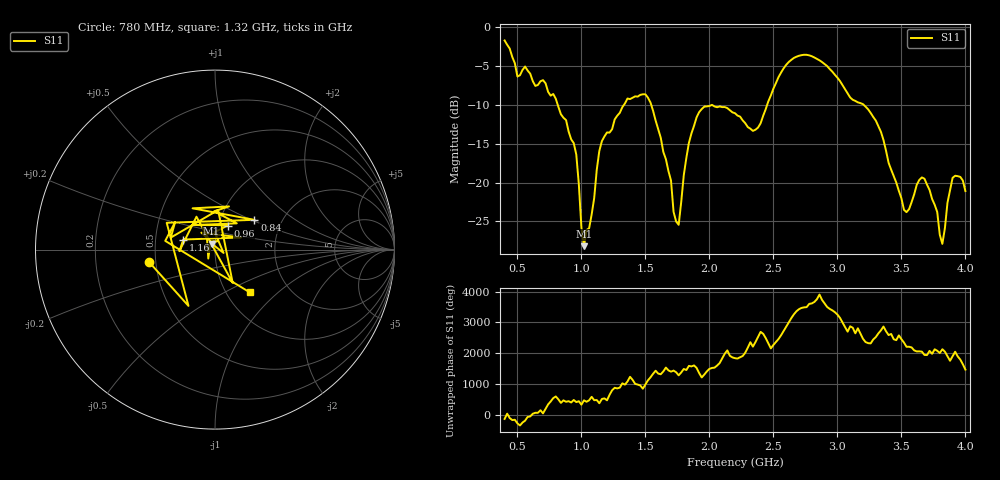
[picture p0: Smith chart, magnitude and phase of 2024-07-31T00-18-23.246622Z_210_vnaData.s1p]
!Created with skrf (http://scikit-rf.org).
# Hz S RI R 50.0
!freq ReS11 ImS11
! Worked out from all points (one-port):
!   181 points, 400 MHz to 4 GHz, reference 50 ohm
!   lowest |S11| = -28.2 dB at 1.02 GHz (marker M1), VSWR 1.08, Z = 48 + j3.27 ohm
!   |S11| at or under -10 dB: 815.4 MHz to 1.332 GHz (516.1 MHz wide, 48.1 % of centre); 1.546 GHz to 2.018 GHz (471.8 MHz wide, 26.5 % of centre); 3.207 GHz to end of sweep (the widest 3 of 4)
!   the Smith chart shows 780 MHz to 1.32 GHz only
!   S11 on the Smith chart (normalised r, x): 780 MHz: 0.46, -0.08; 840 MHz: 1.45, +0.52; 960 MHz: 1.11, +0.30; 1.16 GHz: 0.70, +0.08; 1.32 GHz: 1.28, -0.67
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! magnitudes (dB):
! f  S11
! 400 MHz  -1.7
! 500 MHz  -6.3
! 560 MHz  -5.0
! 780 MHz  -8.6
! 840 MHz  -11.2
! 860 MHz  -11.6
! 960 MHz  -16.4
! 1.02 GHz  -28.2
! 1.08 GHz  -24.1
! 1.16 GHz  -14.7
! 1.3 GHz  -11.0
! 1.32 GHz  -10.3
! 1.54 GHz  -9.7
! 1.76 GHz  -25.4
! 1.84 GHz  -14.9
! 1.92 GHz  -10.9
! 2.2 GHz  -11.1
! 2.38 GHz  -12.9
! 2.66 GHz  -3.9
! 2.88 GHz  -4.5
! 3.1 GHz  -9.0
! 3.3 GHz  -12.0
! 3.52 GHz  -23.5
! 3.56 GHz  -23.4
! 3.68 GHz  -19.5
! 3.82 GHz  -27.9
! 3.9 GHz  -19.4
! 4 GHz  -21.1
